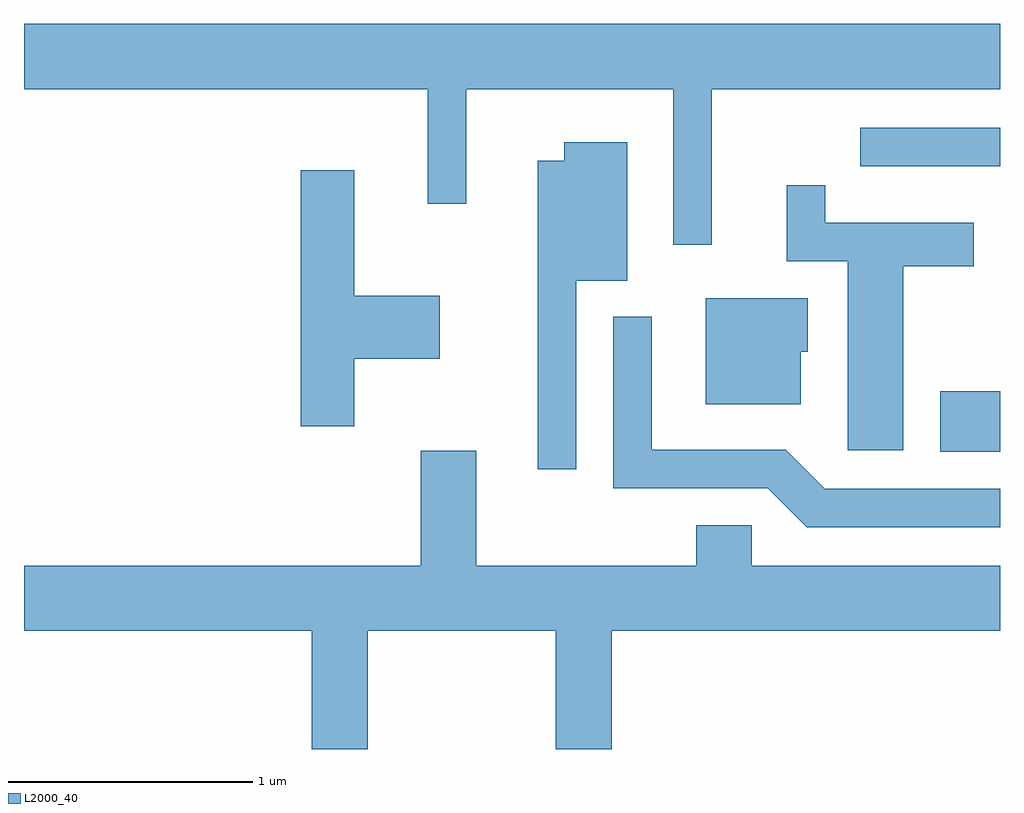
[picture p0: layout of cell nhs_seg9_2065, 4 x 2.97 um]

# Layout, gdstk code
import gdstk
lib = gdstk.Library(unit=1e-6, precision=1e-09)
def R(c, l, rs):  # rectangles x0, y0, x1, y1
    for r in rs: c.add(gdstk.rectangle(r[:2], r[2:], *l))
def P(c, l, *ps):  # polygons
    for p in ps: c.add(gdstk.Polygon(p, *l))
L2000_40 = (2000, 40)

nhs_seg9_2065 = lib.new_cell('nhs_seg9_2065')
R(nhs_seg9_2065, L2000_40, [(249.366,2003.651,249.611,2003.899), (249.038,2004.821,249.611,2004.979)])
P(nhs_seg9_2065, L2000_40, [(248.429,2005.136),(249.611,2005.136),(249.611,2005.404),(245.611,2005.404),(245.611,2005.136),(247.266,2005.136),(247.266,2004.668),(247.424,2004.668),(247.424,2005.136),(248.271,2005.136),(248.271,2004.498),(248.429,2004.498)],
  [(247.874,2004.351),(248.084,2004.351),(248.084,2004.919),(247.826,2004.919),(247.826,2004.844),(247.716,2004.844),(247.716,2003.578),(247.874,2003.578)],
  [(246.964,2004.031),(247.314,2004.031),(247.314,2004.289),(246.964,2004.289),(246.964,2004.804),(246.746,2004.804),(246.746,2003.756),(246.964,2003.756)],
  [(249.214,2004.411),(249.504,2004.411),(249.504,2004.589),(248.894,2004.589),(248.894,2004.743),(248.736,2004.743),(248.736,2004.431),(248.986,2004.431),(248.986,2003.656),(249.214,2003.656)],
  [(248.794,2004.061),(248.824,2004.061),(248.824,2004.279),(248.406,2004.279),(248.406,2003.846),(248.794,2003.846)],
  [(249.611,2003.499),(248.892,2003.499),(248.732,2003.659),(248.184,2003.659),(248.184,2004.203),(248.026,2004.203),(248.026,2003.501),(248.659,2003.501),(248.819,2003.341),(249.611,2003.341)],
  [(247.019,2002.916),(247.791,2002.916),(247.791,2002.432),(248.019,2002.432),(248.019,2002.916),(249.611,2002.916),(249.611,2003.184),(248.594,2003.184),(248.594,2003.349),(248.366,2003.349),(248.366,2003.184),(247.464,2003.184),(247.464,2003.654),(247.236,2003.654),(247.236,2003.184),(245.611,2003.184),(245.611,2002.916),(246.791,2002.916),(246.791,2002.432),(247.019,2002.432)])

lib.write_gds('nhs_seg9_2065.gds')
